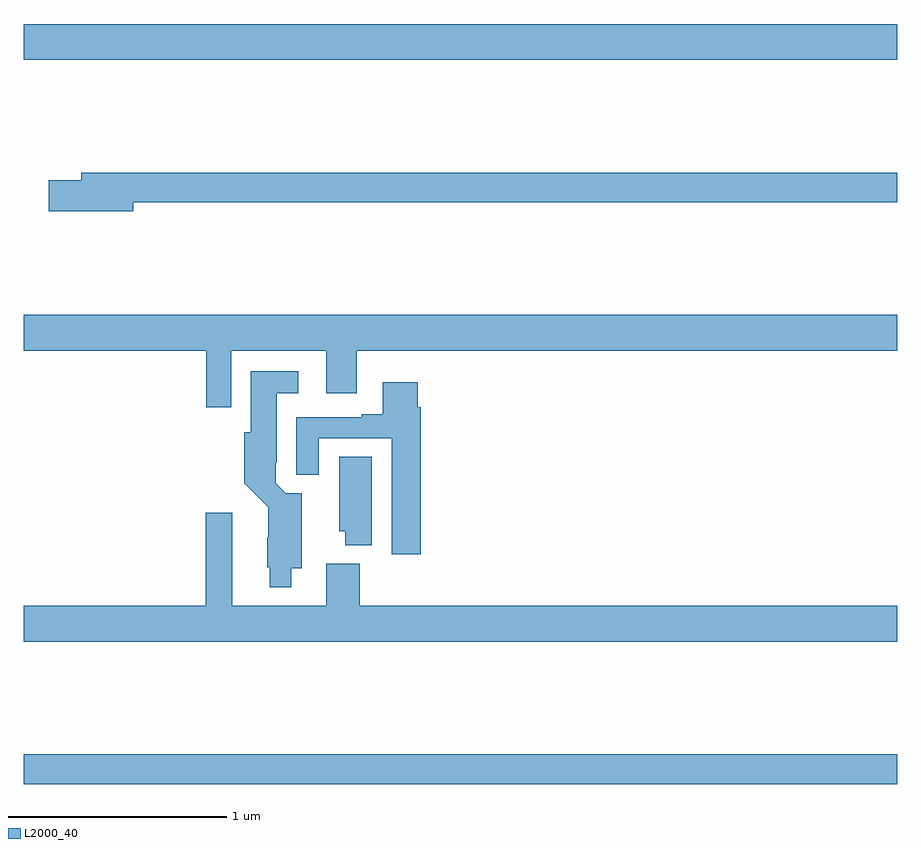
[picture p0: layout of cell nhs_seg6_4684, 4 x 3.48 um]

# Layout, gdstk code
import gdstk
lib = gdstk.Library(unit=1e-6, precision=1e-09)
def R(c, l, rs):  # rectangles x0, y0, x1, y1
    for r in rs: c.add(gdstk.rectangle(r[:2], r[2:], *l))
def P(c, l, *ps):  # polygons
    for p in ps: c.add(gdstk.Polygon(p, *l))
L2000_40 = (2000, 40)

nhs_seg6_4684 = lib.new_cell('nhs_seg6_4684')
R(nhs_seg6_4684, L2000_40, [(387,979.984,391,980.12), (387,983.3,391,983.464)])
P(nhs_seg6_4684, L2000_40, [(387.502,982.648),(391,982.648),(391,982.784),(387.263,982.784),(387.263,982.748),(387.114,982.748),(387.114,982.606),(387.502,982.606)],
  [(387.951,981.968),(388.385,981.968),(388.385,981.774),(388.525,981.774),(388.525,981.968),(391,981.968),(391,982.132),(387,982.132),(387,981.968),(387.835,981.968),(387.835,981.708),(387.951,981.708)],
  [(388.225,980.972),(388.273,980.972),(388.273,981.316),(388.199,981.316),(388.155,981.36),(388.155,981.454),(388.159,981.454),(388.159,981.773),(388.258,981.773),(388.258,981.874),(388.04,981.874),(388.04,981.594),(388.01,981.594),(388.01,981.362),(388.119,981.252),(388.119,981.113),(388.115,981.113),(388.115,980.976),(388.127,980.976),(388.127,980.885),(388.225,980.885)],
  [(388.817,981.71),(388.804,981.71),(388.804,981.823),(388.643,981.823),(388.643,981.676),(388.547,981.676),(388.547,981.663),(388.248,981.663),(388.248,981.401),(388.351,981.401),(388.351,981.567),(388.685,981.567),(388.685,981.036),(388.817,981.036)],
  [(388.594,981.482),(388.445,981.482),(388.445,981.141),(388.472,981.141),(388.472,981.077),(388.594,981.077)],
  [(391,980.8),(388.538,980.8),(388.538,980.992),(388.385,980.992),(388.385,980.8),(387.955,980.8),(387.955,981.226),(387.833,981.226),(387.833,980.8),(387,980.8),(387,980.636),(391,980.636)])

lib.write_gds('nhs_seg6_4684.gds')
